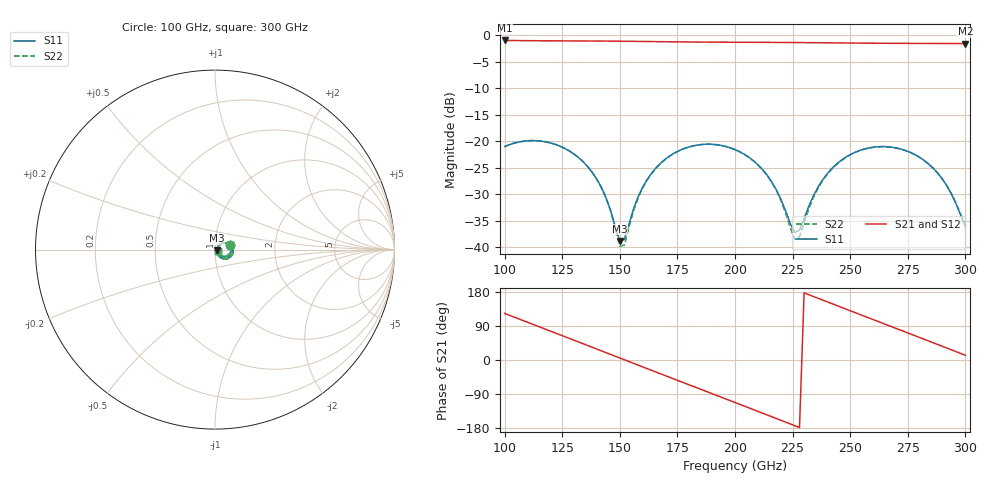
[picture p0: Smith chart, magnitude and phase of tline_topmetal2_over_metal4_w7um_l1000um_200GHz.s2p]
#  GHZ S DB R 50
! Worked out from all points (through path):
!   101 points, 100 GHz to 300 GHz, reference 50 ohm
!   highest |S21| = -0.97 dB at 100 GHz (marker M1); lowest = -1.6 dB at 300 GHz (marker M2)
!   group delay of S21, straight-line fit = 6.53 ps
!   lowest |S11| = -38.8 dB at 150 GHz (marker M3), VSWR 1.02, Z = 51.1 - j0.439 ohm
!   |S11| at or under -10 dB: start of sweep to end of sweep
!   |S22| runs from -39.8 to -19.8 dB; largest |S21 - S12| = 1e-13
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100  -21.00 17.6  -0.97 122.8  -0.97 122.8  -20.98 16.9
116  -19.97 -15.0  -1.03 85.4  -1.03 85.4  -19.95 -16.1
134  -23.83 -50.0  -1.06 43.1  -1.06 43.1  -23.80 -51.8
144  -30.62 -59.9  -1.09 19.5  -1.09 19.5  -30.66 -63.2
150  -38.82 -22.0  -1.11 5.3  -1.11 5.3  -39.78 -26.7
152  -38.49 13.8  -1.12 0.6  -1.12 0.6  -39.58 14.5
156  -32.69 43.9  -1.14 -8.9  -1.14 -8.9  -33.02 46.0
160  -28.58 46.2  -1.16 -18.3  -1.16 -18.3  -28.73 47.4
168  -24.00 36.0  -1.20 -37.2  -1.20 -37.2  -24.06 36.3
184  -20.67 5.5  -1.27 -74.7  -1.27 -74.7  -20.69 5.1
200  -21.55 -26.2  -1.31 -112.1  -1.31 -112.1  -21.56 -27.3
216  -27.68 -50.6  -1.33 -149.8  -1.33 -149.8  -27.76 -53.4
226  -37.21 -10.8  -1.36 -173.4  -1.36 -173.4  -38.53 -14.0
228  -36.71 15.5  -1.36 -178.2  -1.36 -178.2  -37.97 17.4
234  -30.29 44.7  -1.39 167.7  -1.39 167.7  -30.60 47.7
240  -26.11 42.3  -1.41 153.5  -1.41 153.5  -26.24 44.1
248  -23.01 30.1  -1.45 134.7  -1.45 134.7  -23.07 31.2
258  -21.24 11.4  -1.48 111.3  -1.48 111.3  -21.28 12.0
268  -21.09 -8.1  -1.51 87.8  -1.51 87.8  -21.12 -7.7
286  -25.06 -40.2  -1.53 45.5  -1.53 45.5  -25.07 -39.8
294  -29.99 -45.6  -1.55 26.6  -1.55 26.6  -29.95 -44.7
300  -36.09 -21.4  -1.56 12.5  -1.56 12.5  -35.77 -20.1
